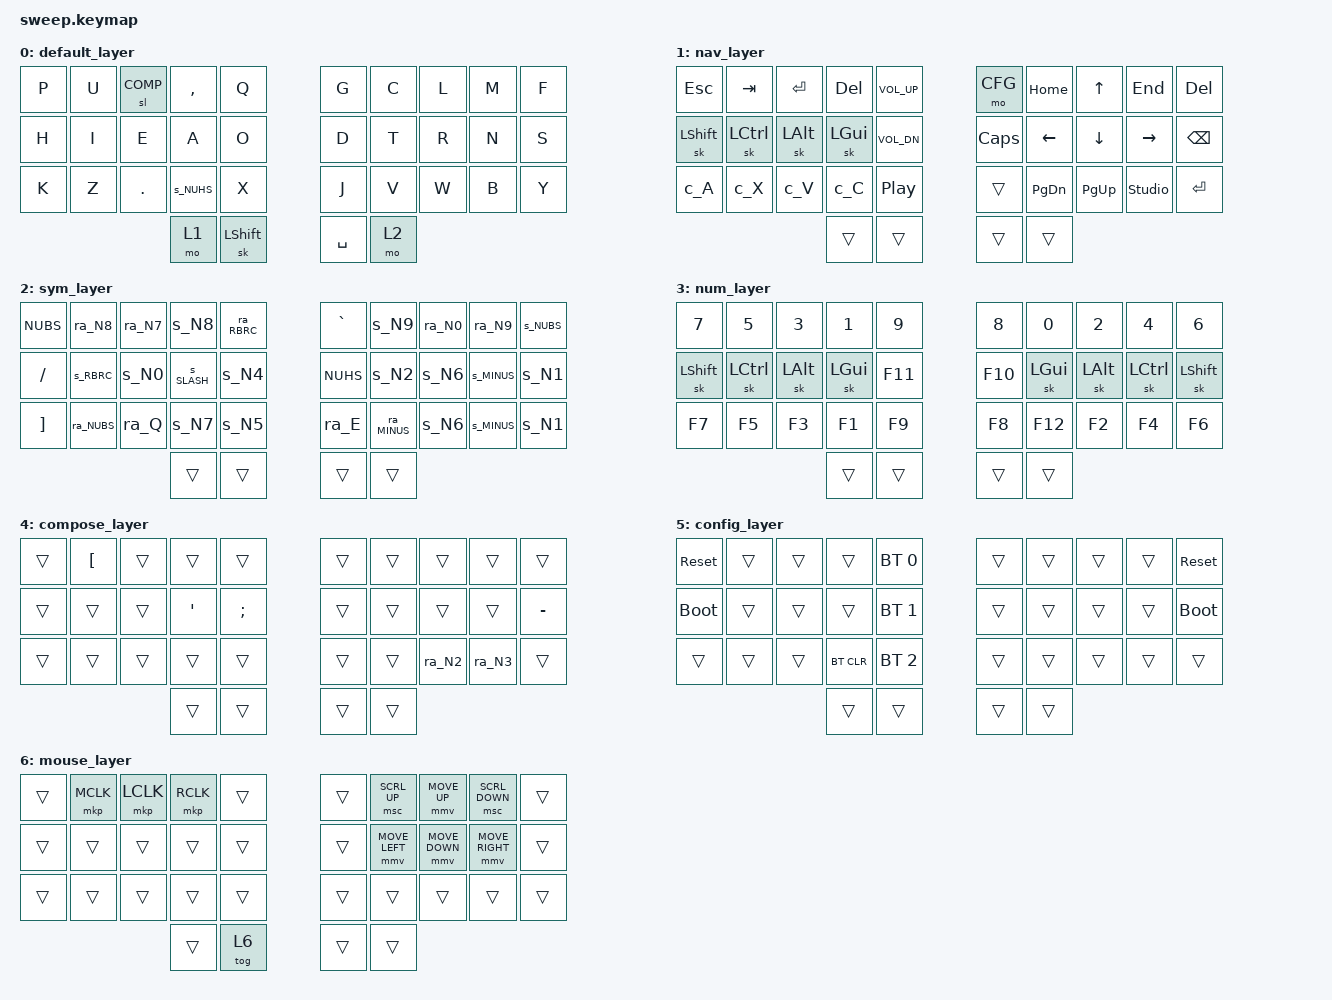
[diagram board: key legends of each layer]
// Copyright (c) 2022 The ZMK Contributors
// SPDX-License-Identifier: MIT

#include <behaviors.dtsi>
#include <dt-bindings/zmk/bt.h>
#include <dt-bindings/zmk/keys.h>

#define ZMK_POINTING_DEFAULT_MOVE_VAL 600  // default: 600
#define ZMK_POINTING_DEFAULT_SCRL_VAL 20    // default: 10

#include <dt-bindings/zmk/mouse.h>
#include <dt-bindings/zmk/pointing.h>



#define SHIFTED(sym, macro_label) s_##sym: s_##sym {\
        label = macro_label;\
        compatible = "zmk,behavior-macro";\
        wait-ms = <50>;\
        #binding-cells = <0>;\
        bindings\
            = <&macro_press &kp LSHFT>\
            , <&macro_press &kp sym>\
            , <&macro_release &kp LSHFT>\
            , <&macro_pause_for_release>\
            , <&macro_release &kp sym>\
            ;\
    }

#define CTRLED(sym, macro_label) c_##sym: c_##sym {\
        label = macro_label;\
        compatible = "zmk,behavior-macro";\
        wait-ms = <50>;\
        #binding-cells = <0>;\
        bindings\
            = <&macro_press &kp LCTRL>\
            , <&macro_press &kp sym>\
            , <&macro_release &kp LCTRL>\
            , <&macro_pause_for_release>\
            , <&macro_release &kp sym>\
            ;\
    }

#define RALTED(sym, macro_label) ra_##sym: ra_##sym {\
        label = macro_label;\
        compatible = "zmk,behavior-macro";\
        wait-ms = <50>;\
        #binding-cells = <0>;\
        bindings\
            = <&macro_press &kp RALT>\
            , <&macro_press &kp sym>\
            , <&macro_release &kp RALT>\
            , <&macro_pause_for_release>\
            , <&macro_release &kp sym>\
            ;\
    }



/{	macros {

        //shifted symbols
        SHIFTED(GRAVE,"DE_DEG");    // °
        SHIFTED(N1,"DE_EXLM");      // !
        SHIFTED(N2,"DE_DQUO");      // "
        SHIFTED(N3,"DE_SECT");      // §
        SHIFTED(N4,"DE_DLR");       // $
        SHIFTED(N5,"DE_PERC");      // %
        SHIFTED(N6,"DE_AMPR");      // &
        SHIFTED(N7,"DE_SLSH");      // /
        SHIFTED(N8,"DE_LPRN");      // (
        SHIFTED(N9,"DE_RPRN");      // );
        SHIFTED(N0,"DE_EQL");       // =
        SHIFTED(MINUS,"DE_QUES");   // ?
        SHIFTED(EQUAL,"DE_GRV");    // ` (dead);
        SHIFTED(RBRC,"DE_ASTR");    // *
        SHIFTED(NUHS,"DE_QUOT");    // '
        SHIFTED(NUBS,"DE_RABK");    // >
        SHIFTED(COMMA,"DE_SCLN");   // ;
        SHIFTED(DOT,"DE_COLN");     // :
        SHIFTED(SLASH,"DE_UNDS");   // _

        //alt gr symbols
        RALTED  (N2,"DE_SUP2");       // ²
        RALTED  (N3,"DE_SUP3");       // ³
        RALTED  (N7,"DE_LCBR");       // {
        RALTED  (N8,"DE_LBRC");       // [
        RALTED  (N9,"DE_RBRC");       // ]
        RALTED  (N0,"DE_RCBR");       // }
        RALTED  (MINUS,"DE_BSLS");    // (backslash)
        RALTED  (Q,"DE_AT");          // @
        RALTED  (E,"DE_EURO");        // €
        RALTED  (RBRC,"DE_TILD");     // ~
        RALTED  (NUBS,"DE_PIPE");     // |
        RALTED  (M,"DE_MICR");        // µ

	//ctrl+...
        CTRLED(C,"copy");
        CTRLED(V,"paste");
        CTRLED(X,"cut");
        CTRLED(A,"all");

        };
};


//shifted symbols
#define DE_DEG   &s_GRVE    // °
#define DE_EXLM  &s_N1      // !
#define DE_DQUO  &s_N2      // "
#define DE_SECT  &s_N3      // §
#define DE_DLR   &s_N4      // $
#define DE_PERC  &s_N5      // %
#define DE_AMPR  &s_N6      // &
#define DE_SLSH  &s_N7      // /
#define DE_LPRN  &s_N8      // &kp s_
#define DE_RPRN  &s_N9      // )
#define DE_EQL   &s_N0       // =
#define DE_QUES  &s_MINUS   // ?
#define DE_GRV   &s_EQUAL    // ` (dead)
#define DE_ASTR  &s_RBRC    // *
#define DE_QUOT  &s_NUHS    // '
#define DE_RABK  &s_NUBS    // >
#define DE_SCLN  &s_COMMA   // ;
#define DE_COLN  &s_DOT     // :
#define DE_UNDS  &s_SLASH   // _

        //alt gr symbols
#define DE_SUP2 &ra_N2       // ²
#define DE_SUP3 &ra_N3       // ³
#define DE_LCBR &ra_N7       // {
#define DE_LBRC &ra_N8       // [
#define DE_RBRC &ra_N9       // ]
#define DE_RCBR &ra_N0       // }
#define DE_BSLS &ra_MINUS    // (backslash)
#define DE_AT &ra_Q          // @
#define DE_EURO &ra_E        // €
#define DE_TILD &ra_RBRC     // ~
#define DE_PIPE &ra_NUBS     // |
#define DE_MICR &ra_M        // µ
// Row 1
#define DE_CIRC &kp GRAVE  // ^ (dead)
#define DE_1    &kp N1    // 1
#define DE_2    &kp N2    // 2
#define DE_3    &kp N3    // 3
#define DE_4    &kp N4    // 4
#define DE_5    &kp N5    // 5
#define DE_6    &kp N6    // 6
#define DE_7    &kp N7    // 7
#define DE_8    &kp N8    // 8
#define DE_9    &kp N9    // 9
#define DE_0    &kp N0    // 0
#define DE_SS   &kp MINUS // ß
#define DE_ACUT &kp EQUAL  // ´ (dead)
// Row 2
#define DE_Q    &kp Q    // Q
#define DE_W    &kp W    // W
#define DE_E    &kp E    // E
#define DE_R    &kp R    // R
#define DE_T    &kp T    // T
#define DE_Z    &kp Y    // Z
#define DE_U    &kp U    // U
#define DE_I    &kp I    // I
#define DE_O    &kp O    // O
#define DE_P    &kp P    // P
#define DE_UDIA &kp LBKT // Ü
#define DE_PLUS &kp RBKT // +
// Row 3
#define DE_A    &kp A    // A
#define DE_S    &kp S    // S
#define DE_D    &kp D    // D
#define DE_F    &kp F    // F
#define DE_G    &kp G    // G
#define DE_H    &kp H    // H
#define DE_J    &kp J    // J
#define DE_K    &kp K    // K
#define DE_L    &kp L    // L
#define DE_ODIA &kp SEMI // Ö
#define DE_ADIA &kp SQT // Ä
#define DE_HASH &kp NUHS // #
// Row 4
#define DE_LABK &kp NUBS // <
#define DE_Y    &kp Z    // Y
#define DE_X    &kp X    // X
#define DE_C    &kp C    // C
#define DE_V    &kp V    // V
#define DE_B    &kp B    // B
#define DE_N    &kp N    // N
#define DE_M    &kp M    // M
#define DE_COMM &kp COMMA // ,
#define DE_DOT  &kp DOT  // .
#define DE_MINS &kp SLASH // -

//Key bindings
#define OS_CMD  &sk LGUI
#define OS_ALT  &sk LALT
#define OS_CTRL &sk LCTRL
#define OS_SHFT &sk LSHIFT
#define NAV 1
#define SYM 2
#define NUM 3
#define COMP 4
#define CFG 5
#define MOUSE 6
#define copy &c_C
#define cut &c_X
#define all &c_A
#define paste &c_V




/ {
  behaviors {
    ht: hold_tap {
      label = "hold_tap";
      compatible = "zmk,behavior-hold-tap";
      #binding-cells = <2>;
      flavor = "tap-preferred";
      tapping-term-ms = <300>;
      quick-tap-ms = <125>;
      global-quick-tap;
      bindings = <&kp>, <&kp>;
    };
     swapper: swapper {
      compatible = "zmk,behavior-tri-state";
      #binding-cells = <0>;
     bindings = <&kt LALT>, <&kp TAB>, <&kt LALT>;
     ignored-key-positions = <12 13>;
     
    };

      

  conditional_layers {
    compatible = "zmk,conditional-layers";
    tri_layer {
      if-layers = <1 2>;
      then-layer = <3>;
    };
  };

     combos {
        compatible = "zmk,combos";
        combo_swapper {
            timeout-ms = <50>;
            key-positions = <12 13>;
            bindings = <&swapper>;
        };
        bootloader {
            timeout-ms = <50>;
            key-positions = <14 15 16 17>;
            bindings = <&bootloader>;
        };
        mouse {
            timeout-ms = <50>;
            key-positions = <2 3>;
            bindings = <&tog 6>;
        };
 };
 };
//
//
//
//
//

};
//
/ {
    keymap {
        compatible = "zmk,keymap";
        default_layer {

            bindings = <
        //╭──────────┬──────────┬──────────┬──────────┬──────────╮   ╭──────────┬──────────┬──────────┬──────────┬──────────╮
        //│          │    Ü     │          │          │          │   │          │          │          │          │          │
            DE_P        DE_U     &sl COMP    DE_COMM     DE_Q           DE_G       DE_C       DE_L       DE_M      DE_F
        //├──────────┼──────────┼──────────┼──────────┼──────────┤   ├──────────┼──────────┼──────────┼──────────┼──────────┤
        //│          │          │          │          │          │   │          │          │          │          │    ß     │
            DE_H        DE_I       DE_E      DE_A        DE_O           DE_D       DE_T       DE_R       DE_N      DE_S
        //├──────────┼──────────┼──────────┼──────────┼──────────┤   ├──────────┼──────────┼──────────┼──────────┼──────────┤
        //│          │          │          │          │          │   │          │          │     ²    │     ³    │          │
            DE_K        DE_Y       DE_DOT   DE_QUOT      DE_X           DE_J       DE_V       DE_W       DE_B      DE_Z
        //╰──────────┴──────────┴──────────┼──────────┼──────────┤   ├──────────┼──────────┼──────────┴──────────┴──────────╯
                                             &mo 1        OS_SHFT       &kp SPACE  &mo 2 
        //                                 ╰──────────┴──────────╯   ╰──────────┴──────────╯

            >;
        };

	nav_layer {

		bindings = <
        //╭──────────┬──────────┬──────────┬──────────┬──────────╮   ╭──────────┬──────────┬──────────┬──────────┬──────────╮
        //│          │          │          │          │          │   │          │          │          │          │          │
            &kp ESC     &kp TAB    &kp ENTER  &kp DEL  &kp C_VOL_UP      &mo CFG    &kp HOME   &kp UP    &kp END     &kp DEL
        //├──────────┼──────────┼──────────┼──────────┼──────────┤   ├──────────┼──────────┼──────────┼──────────┼──────────┤
        //│          │          │          │          │          │   │          │          │          │          │    ß     │
            OS_SHFT    OS_CTRL     OS_ALT     OS_CMD  &kp C_VOL_DN     &kp CAPS   &kp LEFT   &kp DOWN  &kp RIGHT   &kp BSPC
        //├──────────┼──────────┼──────────┼──────────┼──────────┤   ├──────────┼──────────┼──────────┼──────────┼──────────┤
        //│          │          │          │          │          │   │          │          │     ²    │     ³    │          │
              all        cut       paste       copy     &kp C_PP       &trans    &kp PG_DN   &kp PG_UP   &studio_unlock   &kp ENTER
        //╰──────────┴──────────┴──────────┼──────────┼──────────┤   ├──────────┼──────────┼──────────┴──────────┴──────────╯
                                              &trans      &trans       &trans     &trans
        //                                 ╰──────────┴──────────╯   ╰──────────┴──────────╯
        >;
        };
		//

        sym_layer {


        bindings = <
        //╭──────────┬──────────┬──────────┬──────────┬──────────╮   ╭──────────┬──────────┬──────────┬──────────┬──────────╮
        //│          │          │          │          │          │   │          │          │          │          │          │
             DE_LABK    DE_LBRC    DE_LCBR    DE_LPRN    DE_TILD       DE_CIRC     DE_RPRN    DE_RCBR    DE_RBRC    DE_RABK
        //├──────────┼──────────┼──────────┼──────────┼──────────┤   ├──────────┼──────────┼──────────┼──────────┼──────────┤
        //│          │          │          │          │          │   │          │          │          │          │          │
           DE_MINS     DE_ASTR     DE_EQL    DE_UNDS    DE_DLR         DE_HASH     DE_DQUO    DE_AMPR    DE_QUES    DE_EXLM
        //├──────────┼──────────┼──────────┼──────────┼──────────┤   ├──────────┼──────────┼──────────┼──────────┼──────────┤
        //│          │          │          │          │          │   │          │          │     ²    │     ³    │          │
            DE_PLUS    DE_PIPE     DE_AT      DE_SLSH    DE_PERC       DE_EURO     DE_BSLS    DE_AMPR    DE_QUES   DE_EXLM
        //╰──────────┴──────────┴──────────┼──────────┼──────────┤   ├──────────┼──────────┼──────────┴──────────┴──────────╯
                                              &trans    &trans         &trans     &trans
        //                                 ╰──────────┴──────────╯   ╰──────────┴──────────╯

        >;
        };
        //
        //
		//
        num_layer {

        bindings = <
        //╭──────────┬──────────┬──────────┬──────────┬──────────╮   ╭──────────┬──────────┬──────────┬──────────┬──────────╮
        //│          │          │          │          │          │   │          │          │          │          │          │
             &kp N7     &kp N5     &kp N3     &kp N1     &kp N9         &kp N8     &kp N0     &kp N2     &kp N4     &kp N6
        //├──────────┼──────────┼──────────┼──────────┼──────────┤   ├──────────┼──────────┼──────────┼──────────┼──────────┤
        //│          │          │          │          │          │   │          │          │          │          │    ß     │
             OS_SHFT    OS_CTRL    OS_ALT     OS_CMD     &kp F11        &kp F10    OS_CMD     OS_ALT     OS_CTRL    OS_SHFT
        //├──────────┼──────────┼──────────┼──────────┼──────────┤   ├──────────┼──────────┼──────────┼──────────┼──────────┤
        //│          │          │          │          │          │   │          │          │     ²    │     ³    │          │
             &kp F7     &kp F5     &kp F3     &kp F1     &kp F9         &kp F8     &kp F12    &kp F2     &kp F4     &kp F6
        //╰──────────┴──────────┴──────────┼──────────┼──────────┤   ├──────────┼──────────┼──────────┴──────────┴──────────╯
                                              &trans     &trans         &trans     &trans
        //                                 ╰──────────┴──────────╯   ╰──────────┴──────────╯

        >;
        };
        //
	//
	//
	compose_layer {

        bindings = <
        //╭──────────┬──────────┬──────────┬──────────┬──────────╮   ╭──────────┬──────────┬──────────┬──────────┬──────────╮
        //│          │    Ü     │          │          │          │   │          │          │          │          │          │
             &trans     DE_UDIA    &trans     &trans     &trans        &trans      &trans     &trans     &trans     &trans
        //├──────────┼──────────┼──────────┼──────────┼──────────┤   ├──────────┼──────────┼──────────┼──────────┼──────────┤
        //│          │          │          │    Ä     │     Ö    │   │          │          │          │          │    ß     │
             &trans     &trans     &trans    DE_ADIA     DE_ODIA       &trans      &trans     &trans     &trans      DE_SS
        //├──────────┼──────────┼──────────┼──────────┼──────────┤   ├──────────┼──────────┼──────────┼──────────┼──────────┤
        //│          │          │          │          │          │   │          │          │     ²    │     ³    │          │
             &trans     &trans     &trans     &trans     &trans        &trans      &trans    DE_SUP2    DE_SUP3     &trans
        //╰──────────┴──────────┴──────────┼──────────┼──────────┤   ├──────────┼──────────┼──────────┴──────────┴──────────╯
                                              &trans     &trans        &trans      &trans
        //                                 ╰──────────┴──────────╯   ╰──────────┴──────────╯
		>;
        };
        //
		//
		//
        config_layer {

        bindings = <
        //╭──────────┬──────────┬──────────┬──────────┬──────────╮   ╭──────────┬──────────┬──────────┬──────────┬──────────╮
        //│ RESET    │          │          │          │PROFILE 0 │   │          │          │          │          │  RESET   │
            &sys_reset &trans     &trans     &trans   &bt BT_SEL 0     &trans     &trans     &trans     &trans     &sys_reset
        //├──────────┼──────────┼──────────┼──────────┼──────────┤   ├──────────┼──────────┼──────────┼──────────┼──────────┤
        //│BOOTLOADER│          │          │          │PROFILE 1 │   │          │          │          │          │BOOTLOADER│
          &bootloader  &trans     &trans    &trans     &bt BT_SEL 1     &trans     &trans     &trans     &trans    &bootloader
        //├──────────┼──────────┼──────────┼──────────┼──────────┤   ├──────────┼──────────┼──────────┼──────────┼──────────┤
        //│          │          │          │ CLEAR BT │PROFILE 2 │   │          │          │          │          │          │
            &trans     &trans     &trans   &bt BT_CLR &bt BT_SEL 2     &trans     &trans     &trans     &trans     &trans
        //╰──────────┴──────────┴──────────┼──────────┼──────────┤   ├──────────┼──────────┼──────────┴──────────┴──────────╯
                                             &trans     &trans         &trans     &trans
        //                                 ╰──────────┴──────────╯   ╰──────────┴──────────╯
        >;
        };

        mouse_layer {

        bindings = <
        //╭──────────┬──────────┬──────────┬──────────┬──────────╮   ╭──────────┬──────────┬──────────┬──────────┬──────────╮
        //│          │          │          │          │          │   │          │          │          │          │          │
            &trans     &mkp MCLK   &mkp LCLK  &mkp RCLK     &trans     &trans  &msc SCRL_UP &mmv MOVE_UP &msc SCRL_DOWN &trans
        //├──────────┼──────────┼──────────┼──────────┼──────────┤   ├──────────┼──────────┼──────────┼──────────┼──────────┤
        //│          │          │          │          │          │   │          │          │          │          │          │
            &trans      &trans     &trans     &trans     &trans      &trans &mmv MOVE_LEFT &mmv MOVE_DOWN &mmv MOVE_RIGHT &trans
        //├──────────┼──────────┼──────────┼──────────┼──────────┤   ├──────────┼──────────┼──────────┼──────────┼──────────┤
        //│          │          │          │          │          │   │          │          │          │          │          │
            &trans      &trans     &trans     &trans     &trans         &trans     &trans     &trans     &trans     &trans
        //╰──────────┴──────────┴──────────┼──────────┼──────────┤   ├──────────┼──────────┼──────────┴──────────┴──────────╯
                                              &trans     &tog 6         &trans     &trans
        //                                 ╰──────────┴──────────╯   ╰──────────┴──────────╯
        >;
        };

    };
};
